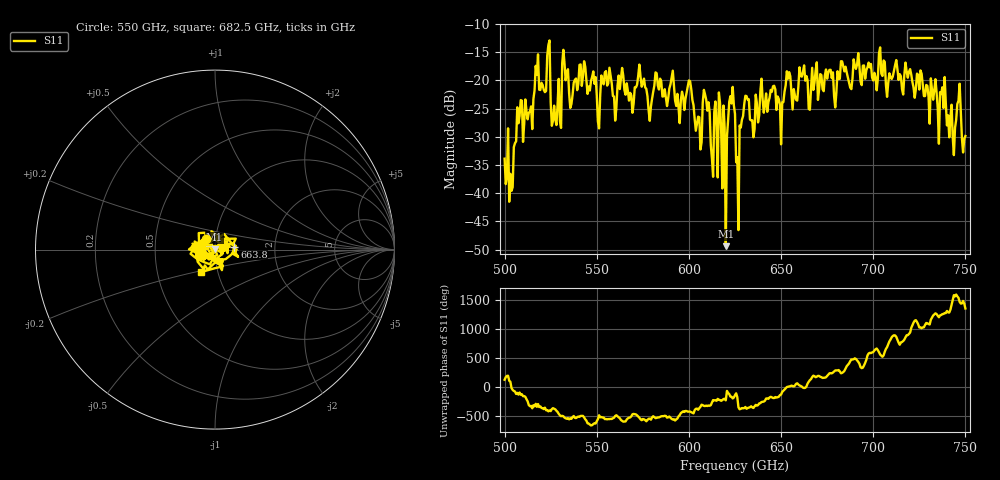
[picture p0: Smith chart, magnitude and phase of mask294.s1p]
!Created with skrf (http://scikit-rf.org).
# GHz S MA R 50.0
!freq magS11 angS11
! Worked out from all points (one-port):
!   401 points, 500 GHz to 750 GHz, reference 50 ohm
!   lowest |S11| = -49.4 dB at 620 GHz (marker M1), VSWR 1.01, Z = 49.8 + j0.259 ohm
!   |S11| at or under -10 dB: start of sweep to end of sweep
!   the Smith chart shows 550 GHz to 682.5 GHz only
!   S11 on the Smith chart (normalised r, x): 550 GHz: 0.90, +0.10; 663.8 GHz: 1.24, +0.04; 682.5 GHz: 0.83, -0.21
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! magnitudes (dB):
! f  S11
! 500 GHz  -33.9
! 503.8 GHz  -39.6
! 508.1 GHz  -26.3
! 517.5 GHz  -19.0
! 523.8 GHz  -13.7
! 526.9 GHz  -24.5
! 531.2 GHz  -16.9
! 550 GHz  -22.6
! 562.5 GHz  -21.5
! 593.8 GHz  -22.4
! 600 GHz  -20.0
! 605.6 GHz  -26.5
! 609.4 GHz  -23.4
! 611.9 GHz  -31.5
! 620 GHz  -49.4
! 623.1 GHz  -24.1
! 625 GHz  -25.9
! 626.9 GHz  -46.5
! 631.2 GHz  -22.8
! 634.4 GHz  -27.1
! 656.2 GHz  -25.2
! 663.8 GHz  -19.2
! 682.5 GHz  -16.6
! 687.5 GHz  -21.3
! 718.8 GHz  -19.5
! 742.5 GHz  -24.3
! 746.2 GHz  -23.6
! 750 GHz  -29.9
